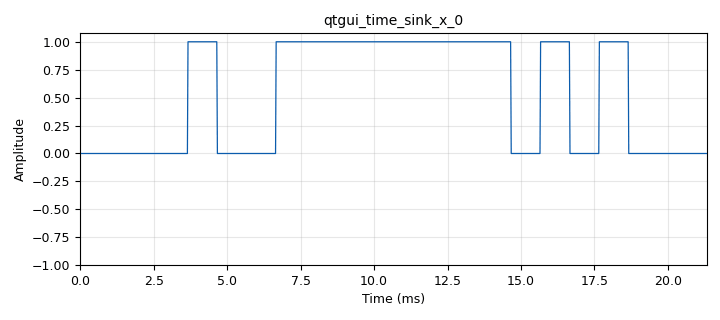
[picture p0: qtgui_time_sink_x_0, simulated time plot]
options:
  parameters:
    author: Alexis Lema
    copyright: ':v'
    generate_options: qt_gui
    id: untitled
    output_language: python
    title: FSK
  states: {}

blocks:
- name: dev_freq
  id: variable
  parameters:
    value: '10000'
  states: {}
- name: mark_freq
  id: variable
  parameters:
    value: '8000'
  states: {}
- name: my_delay
  id: variable_qtgui_range
  parameters:
    start: '0'
    step: '1'
    stop: '2000'
    value: '50'
  states: {}
- name: samp_rate
  id: variable
  parameters:
    value: '48000'
  states: {}
- name: space_freq
  id: variable
  parameters:
    value: '2000'
  states: {}
- name: analog_const_source_x_0
  id: analog_const_source_x
  parameters:
    const: '0'
    type: float
  states: {}
- name: analog_frequency_modulator_fc_0
  id: analog_frequency_modulator_fc
  parameters:
    sensitivity: '1.309'
  states: {}
- name: analog_quadrature_demod_cf_0
  id: analog_quadrature_demod_cf
  parameters:
    gain: '6.11155'
  states: {}
- name: analog_random_uniform_source_x_0
  id: analog_random_uniform_source_x
  parameters:
    maximum: '2'
    minimum: '0'
    seed: '0'
    type: byte
  states: {}
- name: analog_sig_source_x_0
  id: analog_sig_source_x
  parameters:
    amp: '1'
    freq: '500'
    offset: '0'
    phase: '0'
    samp_rate: samp_rate
    type: float
    waveform: analog.GR_SQR_WAVE
  states: {}
- name: blocks_add_const_vxx_0
  id: blocks_add_const_vxx
  parameters:
    const: '0.2'
    type: float
  states: {}
- name: blocks_delay_0
  id: blocks_delay
  parameters:
    delay: '50'
    type: float
  states: {}
- name: blocks_multiply_const_vxx_0
  id: blocks_multiply_const_vxx
  parameters:
    const: '0.6'
    type: float
  states: {}
- name: blocks_null_sink_0
  id: blocks_null_sink
  parameters:
    num_inputs: '2'
    type: float
  states: {}
- name: blocks_repeat_0
  id: blocks_repeat
  parameters:
    interp: '48'
    type: byte
  states: {}
- name: blocks_selector_0
  id: blocks_selector
  parameters:
    enabled: 'True'
    input_index: '1'
    num_inputs: '3'
    num_outputs: '1'
    output_index: '0'
    type: float
  states: {}
- name: blocks_threshold_ff_0
  id: blocks_threshold_ff
  parameters:
    high: '2'
    init: '0'
    low: '6'
  states: {}
- name: blocks_throttle_0
  id: blocks_throttle
  parameters:
    samples_per_second: samp_rate
    type: float
  states: {}
- name: blocks_uchar_to_float_0
  id: blocks_uchar_to_float
  parameters: {}
  states: {}
- name: import_0
  id: import
  parameters: {}
  states: {}
- name: qtgui_sink_x_0
  id: qtgui_sink_x
  parameters:
    bw: samp_rate
    fc: '0'
    fftsize: '1024'
    rate: '100'
    type: float
  states: {state: disabled}
- name: qtgui_time_sink_x_0
  id: qtgui_time_sink_x
  parameters:
    size: '1024'
    srate: samp_rate
    type: float
  states: {}
- name: virtual_sink_0
  id: virtual_sink
  parameters:
    stream_id: compare
  states: {}
- name: virtual_sink_0_0
  id: virtual_sink
  parameters:
    stream_id: channel
  states: {}
- name: virtual_source_0
  id: virtual_source
  parameters:
    stream_id: channel
  states: {}
- name: virtual_source_0_0
  id: virtual_source
  parameters:
    stream_id: compare
  states: {}

connections:
- [analog_const_source_x_0, '0', blocks_selector_0, '2']
- [analog_frequency_modulator_fc_0, '0', virtual_sink_0_0, '0']
- [analog_quadrature_demod_cf_0, '0', blocks_threshold_ff_0, '0']
- [analog_random_uniform_source_x_0, '0', blocks_repeat_0, '0']
- [analog_sig_source_x_0, '0', blocks_selector_0, '0']
- [blocks_add_const_vxx_0, '0', analog_frequency_modulator_fc_0, '0']
- [blocks_delay_0, '0', virtual_sink_0, '0']
- [blocks_multiply_const_vxx_0, '0', blocks_add_const_vxx_0, '0']
- [blocks_multiply_const_vxx_0, '0', qtgui_sink_x_0, '0']
- [blocks_repeat_0, '0', blocks_uchar_to_float_0, '0']
- [blocks_selector_0, '0', blocks_throttle_0, '0']
- [blocks_threshold_ff_0, '0', blocks_null_sink_0, '0']
- [blocks_threshold_ff_0, '0', qtgui_time_sink_x_0, '0']
- [blocks_throttle_0, '0', blocks_delay_0, '0']
- [blocks_throttle_0, '0', blocks_multiply_const_vxx_0, '0']
- [blocks_uchar_to_float_0, '0', blocks_selector_0, '1']
- [virtual_source_0, '0', analog_quadrature_demod_cf_0, '0']
- [virtual_source_0_0, '0', blocks_null_sink_0, '1']

metadata:
  file_format: 1
